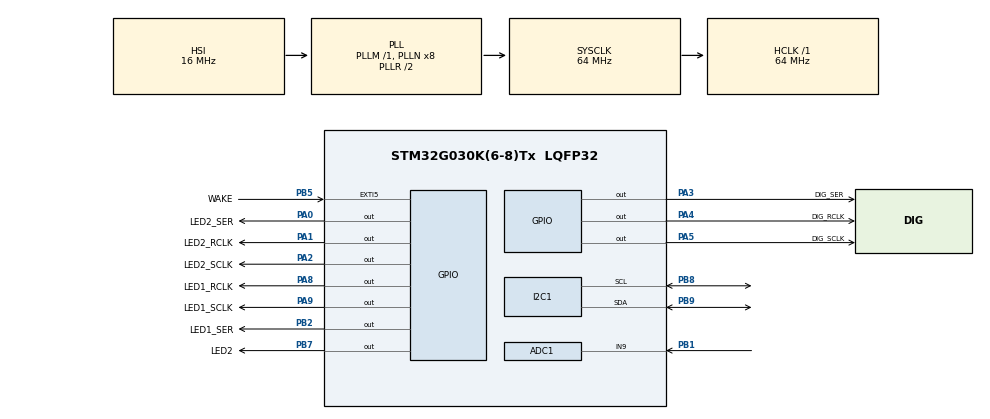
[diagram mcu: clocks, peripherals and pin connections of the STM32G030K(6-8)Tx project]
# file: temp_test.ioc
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ADC1.Channel-0\#ChannelRegularConversion=ADC_CHANNEL_9
ADC1.NbrOfConversionFlag=1
ADC1.Rank-0\#ChannelRegularConversion=1
ADC1.SamplingTime-0\#ChannelRegularConversion=ADC_SAMPLINGTIME_COMMON_1
ADC1.SamplingTimeCommon1=ADC_SAMPLETIME_160CYCLES_5
ADC1.SamplingTimeCommon2=ADC_SAMPLETIME_160CYCLES_5
ADC1.SelectedChannel=ADC_CHANNEL_9
ADC1.master=1
I2C1.Timing=0x10B17DB5
Mcu.Family=STM32G0
Mcu.Name=STM32G030K(6-8)Tx
Mcu.Package=LQFP32
NVIC.EXTI4_15_IRQn=true\:1\:0\:true\:false\:true\:true\:true\:true
NVIC.TIM14_IRQn=true\:0\:0\:false\:false\:true\:true\:true\:true
PA0.GPIO_Label=LED2_SER
PA0.GPIO_Speed=GPIO_SPEED_FREQ_VERY_HIGH
PA0.Signal=GPIO_Output
PA1.GPIO_Label=LED2_RCLK
PA1.GPIO_Speed=GPIO_SPEED_FREQ_VERY_HIGH
PA1.Signal=GPIO_Output
PA13.Mode=Serial_Wire
PA13.Signal=SYS_SWDIO
PA14-BOOT0.Mode=Serial_Wire
PA14-BOOT0.Signal=SYS_SWCLK
PA2.GPIO_Label=LED2_SCLK
PA2.GPIO_Speed=GPIO_SPEED_FREQ_VERY_HIGH
PA2.Signal=GPIO_Output
PA3.GPIO_Label=DIG_SER
PA3.GPIO_Speed=GPIO_SPEED_FREQ_VERY_HIGH
PA3.Signal=GPIO_Output
PA4.GPIO_Label=DIG_RCLK
PA4.GPIO_Speed=GPIO_SPEED_FREQ_VERY_HIGH
PA4.Signal=GPIO_Output
PA5.GPIO_Label=DIG_SCLK
PA5.GPIO_Speed=GPIO_SPEED_FREQ_VERY_HIGH
PA5.Signal=GPIO_Output
PA8.GPIO_Label=LED1_RCLK
PA8.GPIO_Speed=GPIO_SPEED_FREQ_VERY_HIGH
PA8.Signal=GPIO_Output
PA9.GPIO_FMPA9=__NULL
PA9.GPIO_Label=LED1_SCLK
PA9.GPIO_Speed=GPIO_SPEED_FREQ_VERY_HIGH
PA9.Signal=GPIO_Output
PB1.Mode=IN9
PB1.Signal=ADC1_IN9
PB2.GPIO_Label=LED1_SER
PB2.GPIO_Speed=GPIO_SPEED_FREQ_VERY_HIGH
PB2.Signal=GPIO_Output
PB5.GPIO_Label=WAKE
PB5.GPIO_ModeDefaultEXTI=GPIO_MODE_IT_FALLING
PB5.GPIO_PuPd=GPIO_PULLUP
PB5.Signal=GPXTI5
PB7.GPIO_Label=LED2
PB7.GPIO_ModeDefaultOutputPP=GPIO_MODE_OUTPUT_PP
PB7.GPIO_PuPd=GPIO_NOPULL
PB7.PinState=GPIO_PIN_RESET
PB7.Signal=GPIO_Output
PB8.Mode=I2C
PB8.Signal=I2C1_SCL
PB9.Mode=I2C
PB9.Signal=I2C1_SDA
PC14-OSC32_IN\ (PC14).Mode=LSE-External-Oscillator
PC14-OSC32_IN\ (PC14).Signal=RCC_OSC32_IN
PC15-OSC32_OUT\ (PC15).Mode=LSE-External-Oscillator
PC15-OSC32_OUT\ (PC15).Signal=RCC_OSC32_OUT
ProjectManager.HeapSize=0x200
ProjectManager.StackSize=0x400
ProjectManager.TargetToolchain=CMake
RCC.ADCFreq_Value=64000000
RCC.AHBFreq_Value=64000000
RCC.CortexFreq_Value=64000000
RCC.EXTERNAL_CLOCK_VALUE=12288000
RCC.HCLKFreq_Value=64000000
RCC.HSE_VALUE=8000000
RCC.HSI_VALUE=16000000
RCC.SYSCLKFreq_VALUE=64000000
RCC.SYSCLKSource=RCC_SYSCLKSOURCE_PLLCLK
RCC.VCOOutputFreq_Value=128000000
TIM14.AutoReloadPreload=TIM_AUTORELOAD_PRELOAD_DISABLE
TIM14.Period=40-1
TIM14.Prescaler=64-1
VP_TIM14_VS_ClockSourceINT.Mode=Enable_Timer
board=custom

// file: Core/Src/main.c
/* USER CODE BEGIN Header */
/**
 ******************************************************************************
 * @file           : main.c
 * @brief          : Main program body
 ******************************************************************************
 * @attention
 *
 * Copyright (c) 2024 STMicroelectronics.
 * All rights reserved.
 *
 * This software is licensed under terms that can be found in the LICENSE file
 * in the root directory of this software component.
 * If no LICENSE file comes with this software, it is provided AS-IS.
 *
 ******************************************************************************
 */
/* USER CODE END Header */
#include "main.h"
#include "adc.h"
#include "i2c.h"
#include "tim.h"
#include "gpio.h"

void SystemClock_Config(void);

/* USER CODE BEGIN 0 */

struct DEVICE_PARAMTER device_paramter = {0};
/* USER CODE END 0 */

int main(void)
{

  /* USER CODE BEGIN 1 */
  float temperature = 0;
  float humidity = 0;
  uint32_t ADC_Value = 0;
  float Data = 0;
  uint16_t Vol_Value = 0;
  /* USER CODE END 1 */

  /* MCU Configuration--------------------------------------------------------*/

  /* Reset of all peripherals, Initializes the Flash interface and the Systick. */
  HAL_Init();

  /* Configure the system clock */
  SystemClock_Config();

  /* Initialize all configured peripherals */
  MX_GPIO_Init();
  MX_I2C1_Init();
  MX_ADC1_Init();
  MX_TIM14_Init();
  /* USER CODE BEGIN 2 */
  // close the LED2
  HAL_GPIO_WritePin(LED2_GPIO_Port, LED2_Pin, GPIO_PIN_SET);
  HAL_Delay(100);
  // clean all shift registers data to zero, show digial show clean.
  SN74HC595_Send_Data(SN_DIG, 0xFF);
  SN74HC595_Send_Data(SN_LED1, 0x00);
  SN74HC595_Send_Data(SN_LED2, 0x00);

  // open ADC
  HAL_ADCEx_Calibration_Start(&hadc1);
  HAL_ADC_Start(&hadc1);
  HAL_ADC_PollForConversion(&hadc1, 50);

  // to sleep
  HAL_SuspendTick();                                                // stop clock tick
  HAL_PWR_EnterSLEEPMode(PWR_MAINREGULATOR_ON, PWR_SLEEPENTRY_WFI); // run WFI INSTRUCTION to enter sleep mode

  /* USER CODE END 2 */

  /* Infinite loop */
  while (1)
  {

    /* USER CODE BEGIN 3 */

    if (device_paramter.KeyStatus == KEY_SHAKE_STATE)
    {
      HAL_Delay(10);
      if (HAL_GPIO_ReadPin(WAKE_GPIO_Port, WAKE_Pin) == GPIO_PIN_RESET)
      {
        while (HAL_GPIO_ReadPin(WAKE_GPIO_Port, WAKE_Pin) == GPIO_PIN_RESET)
          ;
        SHT40_Read_RHData(&temperature, &humidity);
        device_paramter.Temp = temperature * 10;
        device_paramter.Humi = humidity * 10;
        // get the battery voltage
        if (HAL_IS_BIT_SET(HAL_ADC_GetState(&hadc1), HAL_ADC_STATE_REG_EOC))
        {
          ADC_Value = HAL_ADC_GetValue(&hadc1);
          Data = (ADC_Value * 3.0f) / 4095.0f; // 3.0 is the VDDA voltage
        }
        Vol_Value = (uint16_t)(Data * 100) * 2;

        // if the Vol_Value is less than 10, then show the LED2
        if (Vol_Value < 10)
        {
          HAL_GPIO_WritePin(LED2_GPIO_Port, LED2_Pin, GPIO_PIN_RESET);
        }

        // there is open the tim14, is more accurate than the delay, is can repalce by the delay
        HAL_TIM_Base_Start_IT(&htim14);
        device_paramter.sleepStatus = 0;
        device_paramter.KeyStatus = KEY_NO_PRESS;
      }
    }
    else if (device_paramter.sleepStatus == 1)
    {
      // clean LED2 show, LED2 is for battery show
      HAL_GPIO_WritePin(LED2_GPIO_Port, LED2_Pin, GPIO_PIN_SET);

      HAL_SuspendTick();
      HAL_PWR_EnterSLEEPMode(PWR_MAINREGULATOR_ON, PWR_SLEEPENTRY_WFI);
    }
  }
  /* USER CODE END 3 */
}

void SystemClock_Config(void)
{
  RCC_OscInitTypeDef RCC_OscInitStruct = {0};
  RCC_ClkInitTypeDef RCC_ClkInitStruct = {0};

  /** Configure the main internal regulator output voltage
   */
  HAL_PWREx_ControlVoltageScaling(PWR_REGULATOR_VOLTAGE_SCALE1);

  /** Initializes the RCC Oscillators according to the specified parameters
   * in the RCC_OscInitTypeDef structure.
   */
  RCC_OscInitStruct.OscillatorType = RCC_OSCILLATORTYPE_HSI;
  RCC_OscInitStruct.HSIState = RCC_HSI_ON;
  RCC_OscInitStruct.HSIDiv = RCC_HSI_DIV1;
  RCC_OscInitStruct.HSICalibrationValue = RCC_HSICALIBRATION_DEFAULT;
  RCC_OscInitStruct.PLL.PLLState = RCC_PLL_ON;
  RCC_OscInitStruct.PLL.PLLSource = RCC_PLLSOURCE_HSI;
  RCC_OscInitStruct.PLL.PLLM = RCC_PLLM_DIV1;
  RCC_OscInitStruct.PLL.PLLN = 8;
  RCC_OscInitStruct.PLL.PLLP = RCC_PLLP_DIV2;
  RCC_OscInitStruct.PLL.PLLR = RCC_PLLR_DIV2;
  if (HAL_RCC_OscConfig(&RCC_OscInitStruct) != HAL_OK)
  {
    Error_Handler();
  }

  /** Initializes the CPU, AHB and APB buses clocks
   */
  RCC_ClkInitStruct.ClockType = RCC_CLOCKTYPE_HCLK | RCC_CLOCKTYPE_SYSCLK | RCC_CLOCKTYPE_PCLK1;
  RCC_ClkInitStruct.SYSCLKSource = RCC_SYSCLKSOURCE_PLLCLK;
  RCC_ClkInitStruct.AHBCLKDivider = RCC_SYSCLK_DIV1;
  RCC_ClkInitStruct.APB1CLKDivider = RCC_HCLK_DIV1;

  if (HAL_RCC_ClockConfig(&RCC_ClkInitStruct, FLASH_LATENCY_2) != HAL_OK)
  {
    Error_Handler();
  }
}

void Error_Handler(void)
{
  __disable_irq();
  while (1)
  {
  }
}
